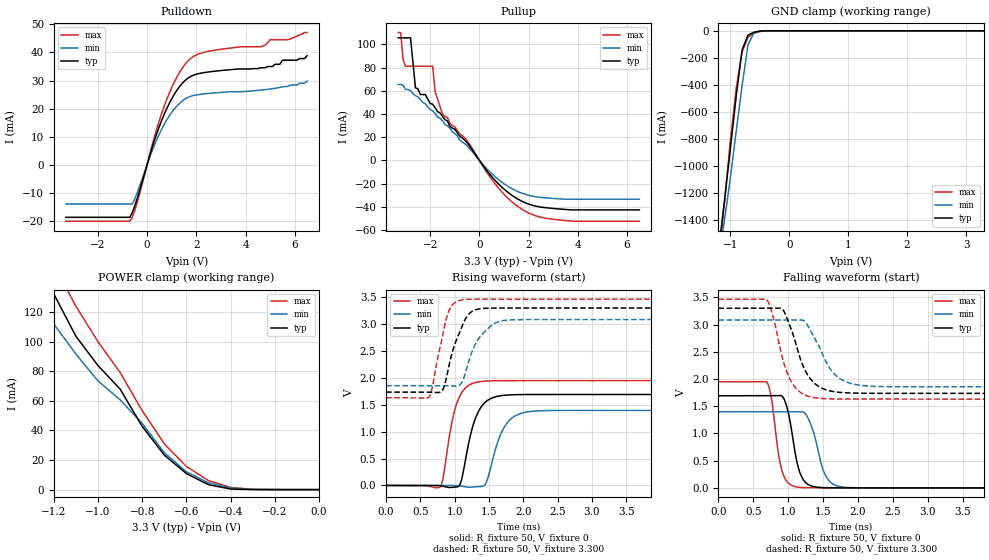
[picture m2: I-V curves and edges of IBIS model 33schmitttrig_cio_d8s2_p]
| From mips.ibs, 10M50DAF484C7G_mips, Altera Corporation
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|MODEL 33schmitttrig_cio_d8s2_p
[Model]   33schmitttrig_cio_d8s2_p
Model_type   I/O
Polarity   Non-Inverting
Enable Active-Low
Vinl   = 0.800
Vinh   = 1.700
Vmeas  = 1.650
Rref   = 10M
Cref   = 0pF
Vref   = 0.000
C_comp 4.5pF   4.5pF   4.5pF
[Model Spec]
Vinh   1.700   1.700   1.700
Vinl   0.800   0.800   0.800
[Temperature Range]   25   85   0
[Voltage Range]   3.300   3.085   3.465
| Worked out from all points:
|   slope of the pulldown table from 0 to 0.495 V, typ, clamps not added: 36.4 ohm
|   slope of the pullup table from 0 to 0.495 V, typ, clamps not added: 35.8 ohm
|   GND clamp passes 1 mA (typ) near -0.44 V on its own axis
|   POWER clamp passes 1 mA (typ) near -0.42 V on its own axis
|   rising waveform, R_fixture 50, V_fixture 0: 20-80 % time 200ps typ, 225ps min, 178ps max; typ from 0 V to 1.69 V
|   falling waveform, R_fixture 50, V_fixture 0: 20-80 % time 146ps typ, 178ps min, 126ps max; typ from 1.69 V to 0 V
|   rising waveform, R_fixture 50, V_fixture 3.300: 20-80 % time 229ps typ, 265ps min, 178ps max; typ from 1.74 V to 3.3 V
|   falling waveform, R_fixture 50, V_fixture 3.300: 20-80 % time 271ps typ, 314ps min, 232ps max; typ from 3.3 V to 1.74 V
[GND Clamp]
| voltage   I (typ)   I (min)   I (max)
-3.3V     -8.634A    -7.734A    -10.13A
-1.2V     -1.626A    -1.688A    -1.731A
-1.1V     -1.26A     -1.403A    -1.274A
-1V       -875.9mA   -1.092A    -816.4mA
-900mV    -483.9mA   -744.2mA   -425.4mA
-800mV    -141.1mA   -407.2mA   -157mA
-700mV    -32.06mA   -104.2mA   -47.74mA
-600mV    -10.6mA    -15.57mA   -17.79mA
-500mV    -2.181mA   -3.118mA   -5.472mA
-400mV    -180.7uA   -399.8uA   -1.032mA
3.3V      0A         0A         0A
[Pulldown]
| voltage   I (typ)   I (min)   I (max)
-3.3V     -18.72mA   -13.96mA   -20.14mA
-700mV    -18.72mA   -13.96mA   -20.14mA
-500mV    -14.67mA   -12.15mA   -16.29mA
300mV     8.712mA    7.036mA    9.99mA
700mV     18.07mA    14.45mA    20.96mA
1.3V      27.6mA     21.69mA    32.62mA
1.8V      31.58mA    24.44mA    38.07mA
2.7V      33.26mA    25.56mA    40.73mA
4.6V      34.54mA    26.55mA    41.99mA
5.1V      34.99mA    27.1mA     44.54mA
5.5V      37.25mA    27.71mA    44.54mA
6.5V      38.83mA    29.81mA    47.08mA
[Power Clamp]
| voltage   I (typ)   I (min)   I (max)
-3.3V     557.2mA    479.9mA    642.4mA
-1.4V     165.1mA    143.8mA    193.2mA
-1.3V     145.9mA    126mA      171.4mA
-1.2V     132.2mA    111.9mA    152.2mA
-1.1V     103.6mA    91.57mA    123.8mA
-1V       83.77mA    73.38mA    99.91mA
-900mV    67.9mA     60.7mA     79.13mA
-800mV    42.69mA    44.68mA    53.29mA
-700mV    23.3mA     24.96mA    30.9mA
-600mV    10.8mA     11.98mA    15.6mA
-400mV    388.6uA    1.05mA     1.475mA
0V        0A         0A         0A
[Pullup]
| voltage   I (typ)   I (min)   I (max)
-3.3V     105.7mA    65.57mA    110.3mA
-3.2V     105.7mA    65.57mA    110.3mA
-3.1V     105.7mA    64.93mA    86.84mA
-2.8V     105.7mA    60.31mA    81.24mA
-2.6V     62.68mA    55.84mA    81.24mA
-2.4V     56.85mA    52.35mA    81.24mA
-1.9V     48.56mA    42.85mA    81.24mA
-1.8V     45.34mA    40.41mA    59.44mA
-1.5V     38.03mA    34.21mA    40.08mA
1.5V      -32.53mA   -26.22mA   -38.71mA
2.9V      -41.2mA    -32.62mA   -50.42mA
6.5V      -42.64mA   -33.44mA   -52.46mA
[Ramp]
dV/dt_r   1.015e+00/2.002e-10 8.378e-01/2.245e-10 1.170e+00/1.780e-10
dV/dt_f   9.382e-01/2.706e-10 7.373e-01/3.138e-10 1.101e+00/2.324e-10
R_load = 50ohms
[Rising Waveform]
R_fixture   = 50
V_fixture   = 0
V_fixture_min = 0
V_fixture_max = 0
| time   V (typ)   V (min)   V (max)
0s        167.1nV    1.89uV     321.1nV
791.1ps   -6.067mV   48.74uV    -19.91mV
832.4ps   -18.01mV   95.29uV    158mV
963.1ps   -35.42mV   619.1uV    1.206V
1.073ns   13.07mV    -8.68mV    1.662V
1.314ns   1.29V      -23.63mV   1.918V
1.459ns   1.563V     53.43mV    1.941V
1.734ns   1.678V     1.11V      1.949V
2.029ns   1.691V     1.361V     1.949V
6.873ns   1.692V     1.396V     1.949V
[Falling Waveform]
R_fixture   = 50
V_fixture   = 0
V_fixture_min = 0
V_fixture_max = 0
| time   V (typ)   V (min)   V (max)
0s        1.692V     1.396V     1.949V
697.1ps   1.692V     1.396V     1.933V
758.6ps   1.692V     1.396V     1.641V
902.1ps   1.692V     1.396V     349.8mV
997.7ps   1.392V     1.396V     92.19mV
1.1ns     625.6mV    1.397V     21.88mV
1.264ns   80.3mV     1.325V     2.229mV
1.524ns   2.95mV     252.1mV    57.44uV
1.743ns   181.9uV    22.05mV    3.059uV
6.827ns   -145.7nV   2.087uV    114.6nV
[Rising Waveform]
R_fixture   = 50
V_fixture   = 3.300
V_fixture_min   = 3.085
V_fixture_max   = 3.465
| time   V (typ)   V (min)   V (max)
0s        1.736V     1.856V     1.63V
626ps     1.735V     1.856V     1.647V
667.3ps   1.734V     1.856V     1.791V
811.8ps   1.755V     1.855V     2.717V
894.3ps   2.1V       1.854V     3.176V
1.087ns   2.898V     1.888V     3.446V
1.197ns   3.174V     2.283V     3.461V
1.341ns   3.28V      2.717V     3.464V
1.706ns   3.3V       3.066V     3.465V
6.873ns   3.3V       3.085V     3.465V
[Falling Waveform]
R_fixture   = 50
V_fixture   = 3.300
V_fixture_min   = 3.085
V_fixture_max   = 3.465
| time   V (typ)   V (min)   V (max)
0s        3.3V       3.085V     3.465V
697.1ps   3.3V       3.085V     3.45V
792.7ps   3.3V       3.085V     3.094V
908.9ps   3.292V     3.085V     2.425V
1.011ns   3.017V     3.085V     2.031V
1.223ns   2.207V     3.071V     1.716V
1.346ns   1.959V     2.822V     1.664V
1.647ns   1.769V     2.11V      1.633V
2.002ns   1.74V      1.889V     1.63V
6.827ns   1.736V     1.856V     1.63V
